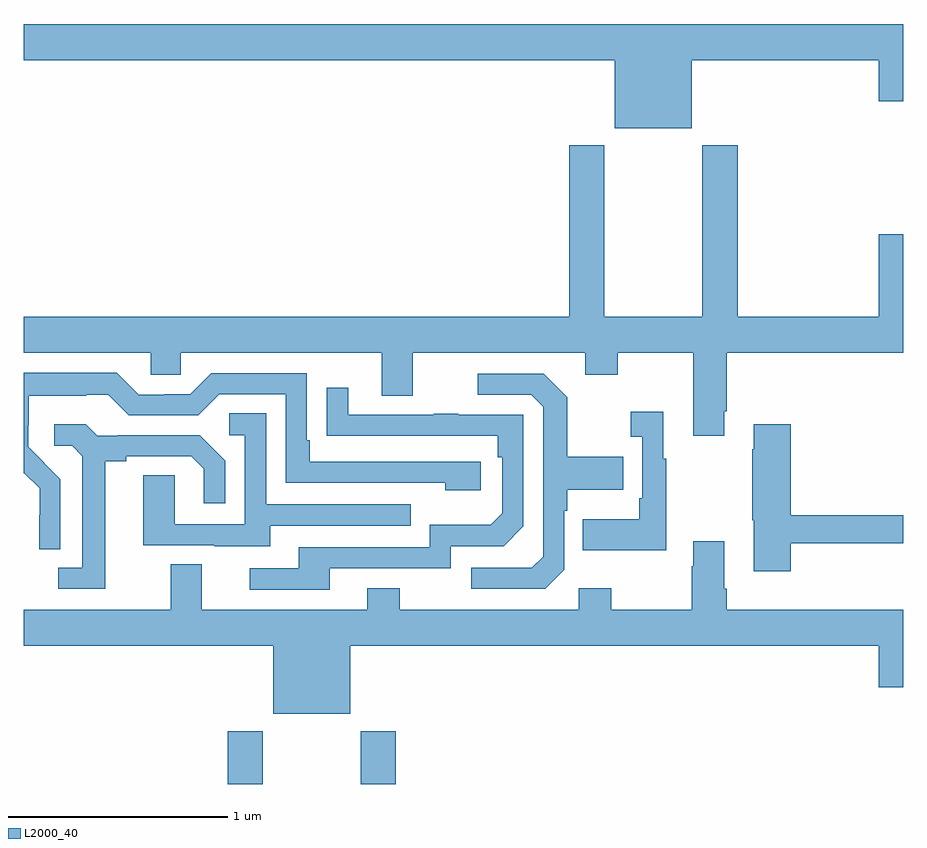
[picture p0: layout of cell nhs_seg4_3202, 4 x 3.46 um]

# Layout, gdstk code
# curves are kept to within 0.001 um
import gdstk
lib = gdstk.Library(unit=1e-6, precision=1e-09)
def R(c, l, rs):  # rectangles x0, y0, x1, y1
    for r in rs: c.add(gdstk.rectangle(r[:2], r[2:], *l))
def P(c, l, *ps):  # polygons
    for p in ps: c.add(gdstk.Polygon(p, *l))
L2000_40 = (2000, 40)

nhs_seg4_3202 = lib.new_cell('nhs_seg4_3202')
R(nhs_seg4_3202, L2000_40, [(281.927,754.9,282.087,755.14), (282.532,754.9,282.692,755.14)])
P(nhs_seg4_3202, L2000_40, [(284.038,758.192),(284.888,758.192),(284.888,758.004),(285,758.004),(285,758.356),(281,758.356),(281,758.192),(283.688,758.192),(283.688,757.883),(284.038,757.883)],
  [(284.185,756.595),(284.198,756.595),(284.198,756.86),(285,756.86),(285,757.399),(284.888,757.399),(284.888,757.024),(284.246,757.024),(284.246,757.804),(284.086,757.804),(284.086,757.024),(283.641,757.024),(283.641,757.804),(283.481,757.804),(283.481,757.024),(281,757.024),(281,756.86),(281.577,756.86),(281.577,756.762),(281.715,756.762),(281.715,756.86),(282.629,756.86),(282.629,756.666),(282.769,756.666),(282.769,756.86),(283.553,756.86),(283.553,756.761),(283.701,756.761),(283.701,756.86),(284.045,756.86),(284.045,756.483),(284.185,756.483)],
  [(281.166,756.286),(281.02,756.434),(281.02,756.531),(281.022,756.531),(281.022,756.665),(281.285,756.665),(281.285,756.669),(281.385,756.669),(281.478,756.576),(281.793,756.576),(281.889,756.672),(282.192,756.672),(282.192,756.27),(282.917,756.27),(282.917,756.236),(283.078,756.236),(283.078,756.366),(282.301,756.366),(282.301,756.463),(282.288,756.463),(282.288,756.768),(281.853,756.768),(281.757,756.672),(281.639,756.672),(281.639,756.669),(281.523,756.669),(281.423,756.769),(281,756.769),(281,756.314),(281.001,756.315),(281.072,756.245),(281.072,756.122),(281.07,756.122),(281.07,755.968),(281.166,755.968)],
  [(283.458,755.874),(283.458,756.143),(283.471,756.143),(283.471,756.239),(283.727,756.239),(283.727,756.387),(283.471,756.387),(283.471,756.659),(283.365,756.765),(283.065,756.765),(283.065,756.669),(283.308,756.669),(283.362,756.615),(283.362,755.934),(283.311,755.883),(283.035,755.883),(283.035,755.787),(283.371,755.787)],
  [(282.391,755.88),(282.942,755.88),(282.942,755.982),(283.182,755.982),(283.272,756.072),(283.272,756.579),(282.977,756.579),(282.977,756.584),(282.865,756.584),(282.865,756.579),(282.475,756.579),(282.475,756.703),(282.379,756.703),(282.379,756.484),(283.156,756.483),(283.156,756.386),(283.176,756.386),(283.176,756.132),(283.123,756.079),(282.846,756.079),(282.846,755.976),(282.251,755.976),(282.251,755.88),(282.027,755.88),(282.027,755.784),(282.391,755.784)],
  [(283.921,756.379),(283.909,756.379),(283.909,756.592),(283.761,756.592),(283.761,756.479),(283.812,756.479),(283.812,756.199),(283.8,756.199),(283.8,756.103),(283.543,756.103),(283.543,755.963),(283.921,755.963)],
  [(282.121,756.075),(282.761,756.075),(282.761,756.171),(282.102,756.171),(282.102,756.587),(281.934,756.587),(281.934,756.486),(282.006,756.486),(282.006,756.081),(281.688,756.081),(281.688,756.305),(281.543,756.305),(281.543,755.985),(281.867,755.985),(281.867,755.981),(282.121,755.981)],
  [(281.371,756.368),(281.467,756.368),(281.467,756.39),(281.762,756.39),(281.819,756.333),(281.819,756.177),(281.916,756.177),(281.916,756.37),(281.8,756.486),(281.428,756.486),(281.428,756.483),(281.334,756.483),(281.282,756.535),(281.139,756.535),(281.139,756.438),(281.22,756.438),(281.267,756.391),(281.267,755.883),(281.157,755.883),(281.157,755.787),(281.371,755.787)],
  [(284.489,755.994),(285,755.994),(285,756.122),(284.489,756.122),(284.489,756.535),(284.321,756.535),(284.321,756.422),(284.314,756.422),(284.314,756.099),(284.321,756.099),(284.321,755.868),(284.489,755.868)],
  [(282.484,755.528),(284.888,755.528),(284.888,755.34),(285,755.34),(285,755.692),(284.198,755.692),(284.198,755.788),(284.185,755.788),(284.185,756.004),(284.045,756.004),(284.045,755.891),(284.038,755.891),(284.038,755.692),(283.671,755.692),(283.671,755.791),(283.524,755.791),(283.524,755.692),(282.711,755.692),(282.711,755.791),(282.563,755.791),(282.563,755.692),(281.809,755.692),(281.809,755.9),(281.669,755.9),(281.669,755.692),(281,755.692),(281,755.528),(282.134,755.528),(282.134,755.219),(282.484,755.219)])

lib.write_gds('nhs_seg4_3202.gds')
